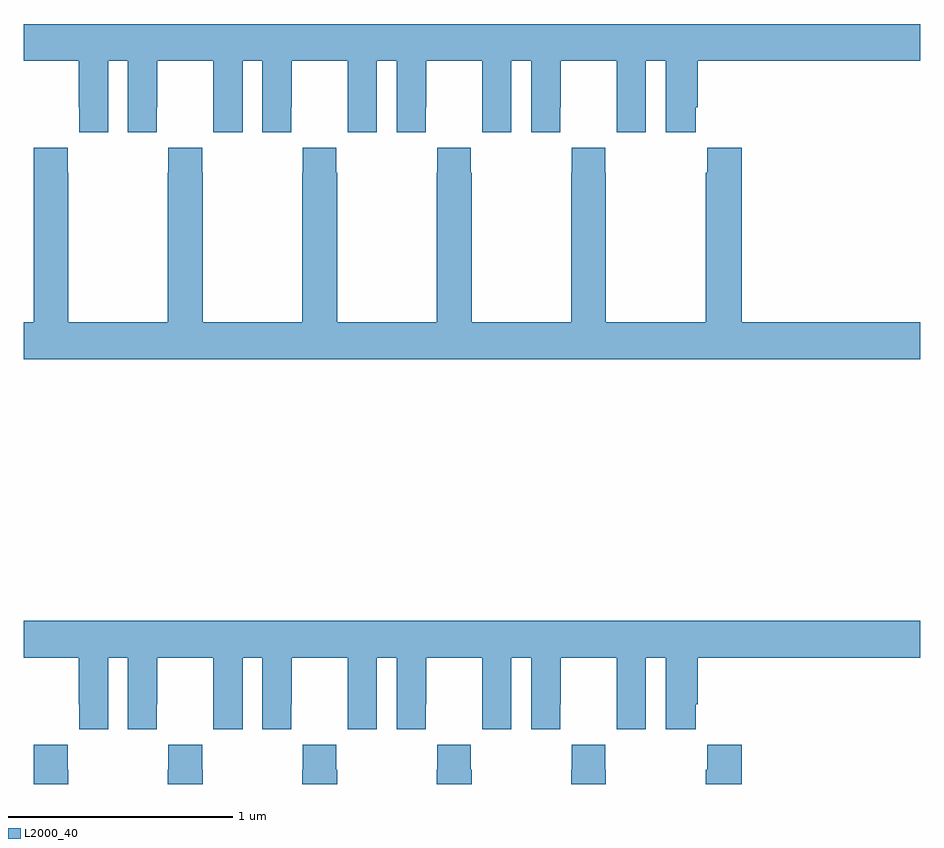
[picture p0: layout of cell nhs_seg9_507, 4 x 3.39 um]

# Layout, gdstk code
import gdstk
lib = gdstk.Library(unit=1e-6, precision=1e-09)
def P(c, l, *ps):  # polygons
    for p in ps: c.add(gdstk.Polygon(p, *l))
L2000_40 = (2000, 40)

nhs_seg9_507 = lib.new_cell('nhs_seg9_507')
P(nhs_seg9_507, L2000_40, [(135.376,1221.728),(135.464,1221.728),(135.464,1221.408),(135.594,1221.408),(135.594,1221.52),(135.595,1221.52),(135.595,1221.728),(135.845,1221.728),(135.845,1221.52),(135.846,1221.52),(135.846,1221.408),(135.976,1221.408),(135.976,1221.728),(136.064,1221.728),(136.064,1221.408),(136.194,1221.408),(136.194,1221.52),(136.195,1221.52),(136.195,1221.728),(136.445,1221.728),(136.445,1221.52),(136.446,1221.52),(136.446,1221.408),(136.576,1221.408),(136.576,1221.728),(136.664,1221.728),(136.664,1221.408),(136.794,1221.408),(136.794,1221.52),(136.795,1221.52),(136.795,1221.728),(137.045,1221.728),(137.045,1221.52),(137.046,1221.52),(137.046,1221.408),(137.176,1221.408),(137.176,1221.728),(137.264,1221.728),(137.264,1221.408),(137.394,1221.408),(137.394,1221.52),(137.395,1221.52),(137.395,1221.728),(137.645,1221.728),(137.645,1221.52),(137.646,1221.52),(137.646,1221.408),(137.776,1221.408),(137.776,1221.728),(137.864,1221.728),(137.864,1221.408),(137.998,1221.408),(137.998,1221.52),(138.008,1221.52),(138.008,1221.728),(139,1221.728),(139,1221.892),(135,1221.892),(135,1221.728),(135.245,1221.728),(135.245,1221.52),(135.246,1221.52),(135.246,1221.408),(135.376,1221.408)],
  [(139,1220.56),(138.203,1220.56),(138.203,1221.34),(138.049,1221.34),(138.049,1221.227),(138.043,1221.227),(138.043,1220.56),(137.598,1220.56),(137.598,1221.227),(137.595,1221.227),(137.595,1221.34),(137.445,1221.34),(137.445,1221.227),(137.443,1221.227),(137.443,1220.56),(136.998,1220.56),(136.998,1221.227),(136.995,1221.227),(136.995,1221.34),(136.845,1221.34),(136.845,1221.227),(136.843,1221.227),(136.843,1220.56),(136.398,1220.56),(136.398,1221.227),(136.395,1221.227),(136.395,1221.34),(136.245,1221.34),(136.245,1221.227),(136.243,1221.227),(136.243,1220.56),(135.798,1220.56),(135.798,1221.227),(135.795,1221.227),(135.795,1221.34),(135.645,1221.34),(135.645,1221.227),(135.643,1221.227),(135.643,1220.56),(135.198,1220.56),(135.198,1221.227),(135.195,1221.227),(135.195,1221.34),(135.045,1221.34),(135.045,1221.227),(135.043,1221.227),(135.043,1220.56),(135,1220.56),(135,1220.396),(139,1220.396)],
  [(135,1219.064),(135.245,1219.064),(135.245,1218.856),(135.246,1218.856),(135.246,1218.744),(135.376,1218.744),(135.376,1219.064),(135.464,1219.064),(135.464,1218.744),(135.594,1218.744),(135.594,1218.856),(135.595,1218.856),(135.595,1219.064),(135.845,1219.064),(135.845,1218.856),(135.846,1218.856),(135.846,1218.744),(135.976,1218.744),(135.976,1219.064),(136.064,1219.064),(136.064,1218.744),(136.194,1218.744),(136.194,1218.856),(136.195,1218.856),(136.195,1219.064),(136.445,1219.064),(136.445,1218.856),(136.446,1218.856),(136.446,1218.744),(136.576,1218.744),(136.576,1219.064),(136.664,1219.064),(136.664,1218.744),(136.794,1218.744),(136.794,1218.856),(136.795,1218.856),(136.795,1219.064),(137.045,1219.064),(137.045,1218.856),(137.046,1218.856),(137.046,1218.744),(137.176,1218.744),(137.176,1219.064),(137.264,1219.064),(137.264,1218.744),(137.394,1218.744),(137.394,1218.856),(137.395,1218.856),(137.395,1219.064),(137.645,1219.064),(137.645,1218.856),(137.646,1218.856),(137.646,1218.744),(137.776,1218.744),(137.776,1219.064),(137.864,1219.064),(137.864,1218.744),(137.998,1218.744),(137.998,1218.856),(138.008,1218.856),(138.008,1219.064),(139,1219.064),(139,1219.228),(135,1219.228)],
  [(135.798,1218.563),(135.795,1218.563),(135.795,1218.676),(135.645,1218.676),(135.645,1218.563),(135.643,1218.563),(135.643,1218.5),(135.798,1218.5)],
  [(136.398,1218.563),(136.395,1218.563),(136.395,1218.676),(136.245,1218.676),(136.245,1218.563),(136.243,1218.563),(136.243,1218.5),(136.398,1218.5)],
  [(136.998,1218.563),(136.995,1218.563),(136.995,1218.676),(136.845,1218.676),(136.845,1218.563),(136.843,1218.563),(136.843,1218.5),(136.998,1218.5)],
  [(137.598,1218.563),(137.595,1218.563),(137.595,1218.676),(137.445,1218.676),(137.445,1218.563),(137.443,1218.563),(137.443,1218.5),(137.598,1218.5)],
  [(138.203,1218.676),(138.049,1218.676),(138.049,1218.563),(138.043,1218.563),(138.043,1218.5),(138.203,1218.5)],
  [(135.198,1218.563),(135.195,1218.563),(135.195,1218.676),(135.045,1218.676),(135.045,1218.563),(135.043,1218.563),(135.043,1218.5),(135.198,1218.5)])

lib.write_gds('nhs_seg9_507.gds')
